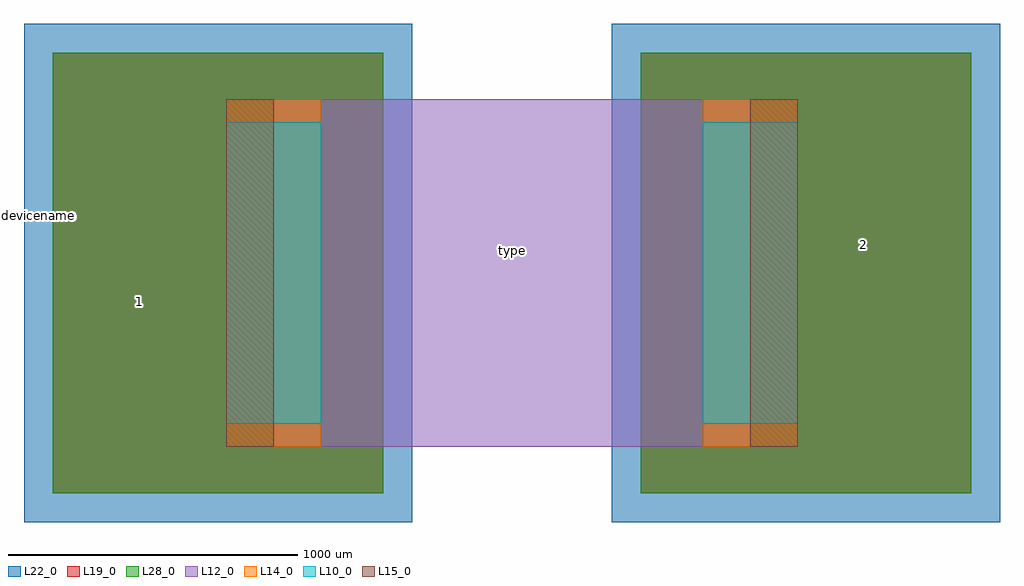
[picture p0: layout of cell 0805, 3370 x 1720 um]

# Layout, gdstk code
import gdstk
lib = gdstk.Library(unit=1e-6, precision=1e-09)
def R(c, l, rs):  # rectangles x0, y0, x1, y1
    for r in rs: c.add(gdstk.rectangle(r[:2], r[2:], *l))
L10_0 = (10, 0)
L12_0 = (12, 0)
L14_0 = (14, 0)
L15_0 = (15, 0)
L19_0 = (19, 0)
L22_0 = (22, 0)
L28_0 = (28, 0)

c_0805 = lib.new_cell('0805')
R(c_0805, L10_0, [(0,78.73,328.931,1121.119), (1644.653,78.73,1973.583,1121.119)])
R(c_0805, L12_0, [(164.465,0,1809.118,1199.849)])
R(c_0805, L14_0, [(0,0,328.931,1199.849), (1644.653,0,1973.583,1199.849)])
R(c_0805, L15_0, [(0,0,164.465,1199.849), (1809.118,0,1973.583,1199.849)])
R(c_0805, L19_0, [(-598.208,-160.075,541.792,1359.925), (1431.792,-160.075,2571.792,1359.925)])
R(c_0805, L22_0, [(-698.208,-260.075,641.792,1459.925), (1331.792,-260.075,2671.792,1459.925)])
R(c_0805, L28_0, [(-598.208,-160.075,541.792,1359.925), (1431.792,-160.075,2571.792,1359.925)])
c_0805.add(gdstk.Label('1', (-300,500), layer=19, texttype=0))
c_0805.add(gdstk.Label('2', (2200,700), layer=19, texttype=0))
c_0805.add(gdstk.Label('2', (2200,700), layer=28, texttype=0))
c_0805.add(gdstk.Label('1', (-300,500), layer=28, texttype=0))
c_0805.add(gdstk.Label('devicename', (-750,800), layer=20, texttype=0))
c_0805.add(gdstk.Label('type', (986.792,678.655), layer=10, texttype=0))

lib.write_gds('0805.gds')
